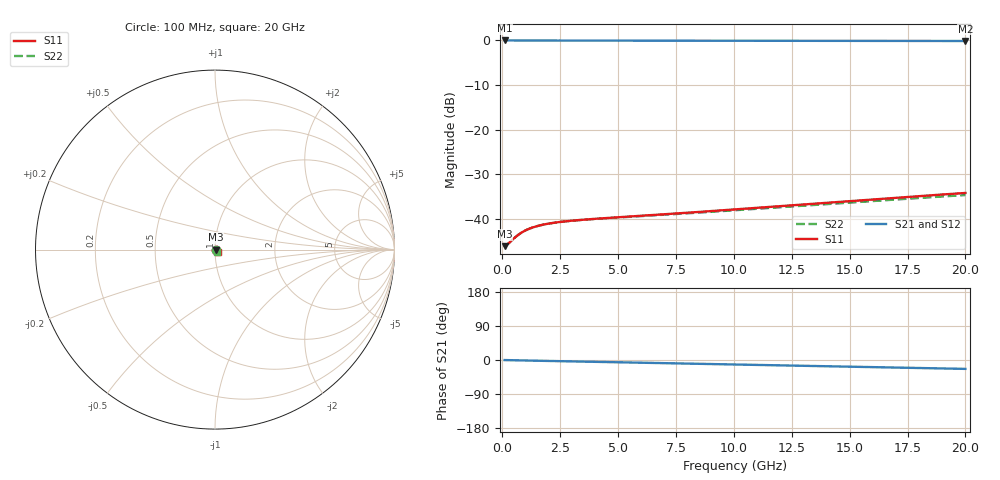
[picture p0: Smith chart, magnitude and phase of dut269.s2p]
! Touchstone file exported from HFSS 2026.1.0
!  File:  C:/ffzhzh/LocalFiles/Ansys_Project_Files/temp_train_TMRDL_269_1782985152_41620.aedt
!  Generated:  05:40:19 PM Jul  2, 2026
!  Design:  TMRDL
!  Project:  temp_train_TMRDL_269_1782985152_41620
! Variables:
!  h_bsmrdl = 2um
!  h_ox = 20um
!  h_rdl = 5um
!  h_sub = 80um
!  h_tmrdl = 2.03um
!  h_tsv = 80um
!  h_via = 3um
!  l_bsmrdl = 300um
!  l_sub = 814.75um
!  l_tmrdl = 414.75um
!  m_sub = 200um
!  pitch = 17.88um
!  r_tsv = 6um
!  s_tmrdl = 10um
!  w_bsmrdl = 18um
!  w_sub = 500um
!  w_tmrdl = 15.61um
!  x_tsv_center1 = 422.555um
!  x_tsv_center2 = 740.555um
!  x_tsv_center3 = 1170.915um
!  x_tsv_center4 = 1488.915um
!  x_tsv_center5 = 1919.275um
!  x_tsv_center6 = 2237.275um
# GHz S MA R 50.000000
! Terminal data exported
! Port[1] = TM_RDL1_1_T1
! Port[2] = TM_RDL1_1_T2
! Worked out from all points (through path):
!   200 points, 100 MHz to 20 GHz, reference 50 ohm
!   highest |S21| = -0.04 dB at 100 MHz (marker M1); lowest = -0.2 dB at 20 GHz (marker M2)
!   group delay of S21, straight-line fit = 3.24 ps
!   lowest |S11| = -46.1 dB at 100 MHz (marker M3), VSWR 1.01, Z = 50.5 + j0.0436 ohm
!   |S11| at or under -10 dB: start of sweep to end of sweep
!   |S22| runs from -46.1 to -34.7 dB; largest |S21 - S12| = 3.4e-15
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0.1  0.004936 5.0  0.9951 -0.1  0.9951 -0.1  0.004936 5.0
! Gamma 0 0 0 0
! Port Impedance 50 0 50 0
0.2  0.005117 9.4  0.995 -0.3  0.995 -0.3  0.005117 9.4
0.3  0.005381 12.8  0.9948 -0.4  0.9948 -0.4  0.005382 12.8
0.5  0.006021 16.6  0.9943 -0.7  0.9943 -0.7  0.006019 16.6
0.6  0.006343 17.3  0.994 -0.8  0.994 -0.8  0.00634 17.3
0.7  0.006646 17.6  0.9937 -1.0  0.9937 -1.0  0.006642 17.6
0.8  0.006927 17.5  0.9934 -1.1  0.9934 -1.1  0.006921 17.5
1  0.007413 16.8  0.9929 -1.3  0.9929 -1.3  0.007405 16.8
1.1  0.007622 16.2  0.9927 -1.4  0.9927 -1.4  0.007613 16.3
1.3  0.007981 15.1  0.9923 -1.7  0.9923 -1.7  0.007972 15.1
1.5  0.008279 13.8  0.992 -1.9  0.992 -1.9  0.008268 13.9
1.7  0.008528 12.6  0.9917 -2.1  0.9917 -2.1  0.008516 12.7
1.9  0.008739 11.5  0.9915 -2.4  0.9915 -2.4  0.008727 11.5
2.2  0.009005 9.8  0.9912 -2.7  0.9912 -2.7  0.008991 9.9
2.8  0.009413 6.8  0.9907 -3.4  0.9907 -3.4  0.009391 6.9
3.5  0.009774 3.8  0.9903 -4.2  0.9903 -4.2  0.009741 3.9
4.5  0.0102 0.2  0.9899 -5.4  0.9899 -5.4  0.01015 0.3
6.8  0.01115 -6.7  0.9889 -8.1  0.9889 -8.1  0.01102 -6.6
10.1  0.01277 -15.6  0.9873 -12.0  0.9873 -12.0  0.01249 -15.6
13.4  0.01475 -24.4  0.9855 -15.8  0.9855 -15.8  0.01427 -24.5
16.7  0.01701 -33.1  0.9835 -19.7  0.9835 -19.7  0.01628 -33.5
20  0.01947 -41.5  0.9814 -23.5  0.9814 -23.5  0.01846 -42.2
